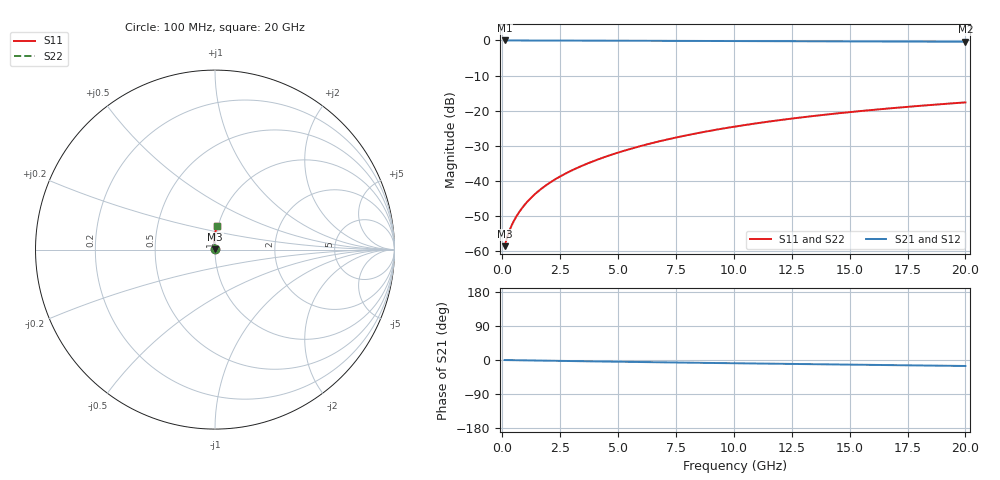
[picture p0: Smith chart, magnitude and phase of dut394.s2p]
! Touchstone file exported from HFSS 2024.1.0
!  File:  C:/UserFiles/LocalFiles/RDL_TSV_Batchsim/temp_RDL_bottom_394_1779614489.aedt
!  Generated:  05:24:05 PM May 24, 2026
!  Design:  RDL_bottom
!  Project:  temp_RDL_bottom_394_1779614489
!  Setup:  Setup1
!  Solution:  Sweep
! Variables:
!  dtsv = 10.80580581um
!  hbump = 3um
!  htsv = 70.03um
!  ldown = 232.53um
!  lrdl = 100um
!  p = 40
!  p1 = 44.99um
!  rhole = 1um
!  t = 450um
!  tdown = 3.65um
!  trdl = 3.915915916um
!  wdown = 28.51um
!  wrdl = 20um
# GHz S MA R 50.000000
! Terminal data exported
! Port[1] = RDL1_T1
! Port[2] = RDL1_T2
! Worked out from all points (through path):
!   200 points, 100 MHz to 20 GHz, reference 50 ohm
!   highest |S21| = -0.01 dB at 100 MHz (marker M1); lowest = -0.4 dB at 20 GHz (marker M2)
!   group delay of S21, straight-line fit = 2.16 ps
!   lowest |S11| = -58.5 dB at 100 MHz (marker M3), VSWR 1.00, Z = 50.1 + j0.0567 ohm
!   |S11| at or under -10 dB: start of sweep to end of sweep
!   |S22| runs from -58.5 to -17.6 dB; largest |S21 - S12| = 3.4e-15
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0.1  0.001188 28.4  0.9989 -0.1  0.9989 -0.1  0.001188 28.4
! Gamma 0 0 0 0
! Port Impedance 50 0 50 0
0.2  0.001554 43.8  0.9989 -0.2  0.9989 -0.2  0.001554 43.8
0.3  0.001944 52.4  0.9988 -0.3  0.9988 -0.3  0.001944 52.4
0.4  0.002329 58.2  0.9987 -0.4  0.9987 -0.4  0.002329 58.2
0.5  0.002715 62.7  0.9986 -0.5  0.9986 -0.5  0.002715 62.7
0.6  0.003107 66.3  0.9985 -0.6  0.9985 -0.6  0.003107 66.3
0.8  0.003914 71.8  0.9984 -0.8  0.9984 -0.8  0.003914 71.8
1  0.00475 75.8  0.9982 -1.0  0.9982 -1.0  0.00475 75.8
1.2  0.00561 78.9  0.998 -1.2  0.998 -1.2  0.00561 78.9
1.7  0.007846 84.1  0.9975 -1.6  0.9975 -1.6  0.007846 84.1
2.2  0.01019 87.5  0.9968 -2.1  0.9968 -2.1  0.01019 87.5
2.8  0.01316 90.4  0.9957 -2.6  0.9957 -2.6  0.01316 90.4
3.5  0.01682 92.7  0.9943 -3.3  0.9943 -3.3  0.01682 92.7
4.2  0.02071 94.2  0.9927 -3.9  0.9927 -3.9  0.02071 94.2
5  0.02542 95.3  0.9907 -4.6  0.9907 -4.6  0.02543 95.3
6.8  0.03691 96.1  0.986 -6.1  0.986 -6.1  0.03691 96.1
8.4  0.04786 95.5  0.9819 -7.3  0.9819 -7.3  0.04787 95.5
10.1  0.05996 94.2  0.9777 -8.6  0.9777 -8.6  0.05997 94.2
11.7  0.07157 92.7  0.9741 -9.8  0.9741 -9.8  0.07157 92.7
13.4  0.08398 91.0  0.9705 -11.1  0.9705 -11.1  0.08399 91.0
16.7  0.108 87.5  0.9641 -13.4  0.9641 -13.4  0.108 87.5
20  0.1315 84.0  0.9582 -15.8  0.9582 -15.8  0.1315 84.0
